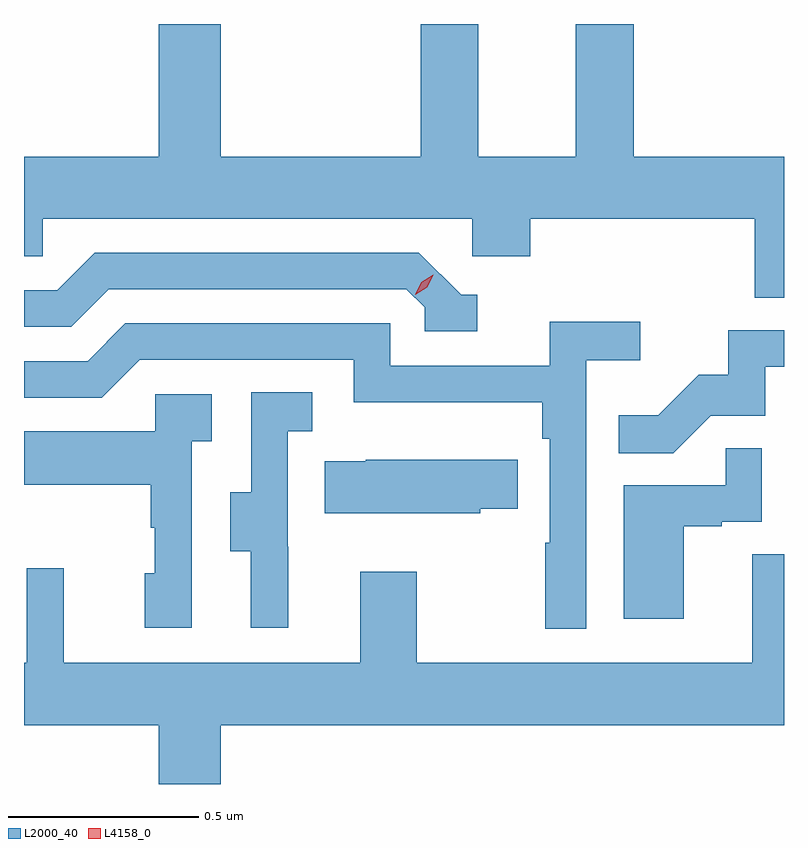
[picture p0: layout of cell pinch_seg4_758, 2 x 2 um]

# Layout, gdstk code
import gdstk
lib = gdstk.Library(unit=1e-6, precision=1e-09)
def P(c, l, *ps):  # polygons
    for p in ps: c.add(gdstk.Polygon(p, *l))
L2000_40 = (2000, 40)
L4158_0 = (4158, 0)

pinch_seg4_758 = lib.new_cell('pinch_seg4_758')
P(pinch_seg4_758, L2000_40, [(885.934,826.288),(885.539,826.288),(885.539,826.637),(885.386,826.637),(885.386,826.288),(885.13,826.288),(885.13,826.637),(884.978,826.637),(884.978,826.288),(884.452,826.288),(884.452,826.637),(884.288,826.637),(884.288,826.288),(883.934,826.288),(883.934,826.026),(883.983,826.026),(883.983,826.124),(885.114,826.124),(885.114,826.026),(885.266,826.026),(885.266,826.124),(885.857,826.124),(885.857,825.916),(885.934,825.916)],
  [(885.127,825.924),(885.084,825.924),(884.973,826.035),(884.12,826.035),(884.021,825.936),(883.934,825.936),(883.934,825.84),(884.058,825.84),(884.157,825.939),(884.94,825.939),(884.988,825.891),(884.988,825.828),(885.127,825.828)],
  [(885.414,825.752),(885.556,825.752),(885.556,825.854),(885.317,825.854),(885.317,825.738),(884.898,825.738),(884.898,825.849),(884.201,825.849),(884.102,825.75),(883.934,825.75),(883.934,825.654),(884.139,825.654),(884.238,825.753),(884.802,825.753),(884.802,825.641),(885.298,825.641),(885.298,825.545),(885.318,825.545),(885.318,825.272),(885.306,825.272),(885.306,825.045),(885.414,825.045)],
  [(885.741,825.606),(885.885,825.606),(885.885,825.735),(885.934,825.735),(885.934,825.831),(885.787,825.831),(885.787,825.714),(885.71,825.714),(885.603,825.607),(885.499,825.607),(885.499,825.508),(885.643,825.508)],
  [(884.63,825.261),(884.628,825.261),(884.628,825.565),(884.692,825.565),(884.692,825.668),(884.532,825.668),(884.532,825.405),(884.477,825.405),(884.477,825.25),(884.531,825.25),(884.531,825.048),(884.63,825.048)],
  [(884.376,825.539),(884.428,825.539),(884.428,825.663),(884.28,825.663),(884.28,825.565),(883.934,825.565),(883.934,825.425),(884.268,825.425),(884.268,825.311),(884.278,825.311),(884.278,825.192),(884.252,825.192),(884.252,825.048),(884.376,825.048)],
  [(885.67,825.315),(885.77,825.315),(885.77,825.327),(885.876,825.327),(885.876,825.521),(885.781,825.521),(885.781,825.423),(885.512,825.423),(885.512,825.072),(885.67,825.072)],
  [(885.135,825.361),(885.233,825.361),(885.233,825.49),(884.833,825.49),(884.833,825.487),(884.725,825.487),(884.725,825.35),(885.135,825.35)],
  [(884.452,824.792),(885.934,824.792),(885.934,825.242),(885.851,825.242),(885.851,824.956),(884.967,824.956),(884.967,825.196),(884.819,825.196),(884.819,824.956),(884.039,824.956),(884.039,825.205),(883.941,825.205),(883.941,824.956),(883.934,824.956),(883.934,824.792),(884.288,824.792),(884.288,824.637),(884.452,824.637)])
P(pinch_seg4_758, L4158_0, [(884.964,825.925),(884.964,825.926),(884.98,825.958),(885.011,825.977),(885.011,825.977),(885.011,825.977),(884.995,825.944),(884.964,825.925)])

lib.write_gds('pinch_seg4_758.gds')
